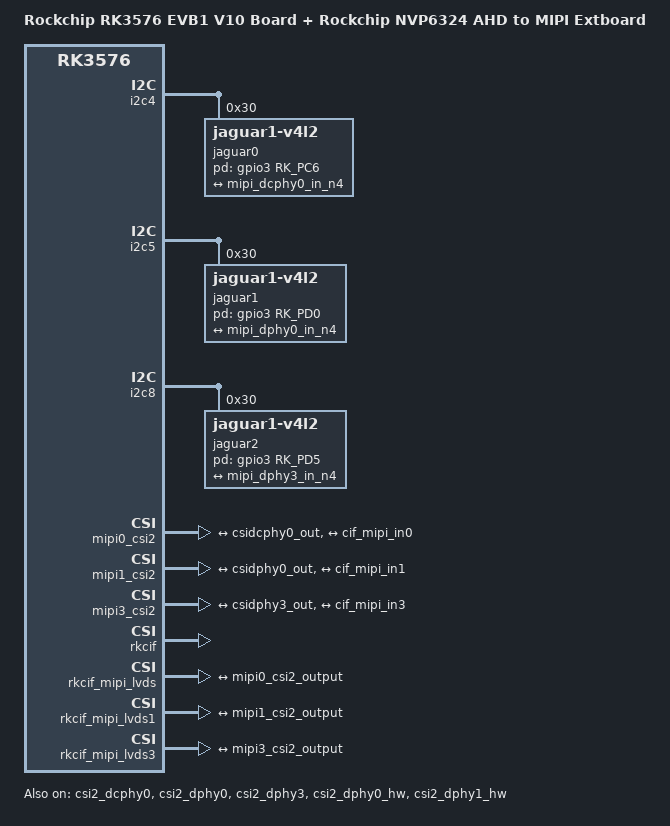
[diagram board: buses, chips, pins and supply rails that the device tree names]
// SPDX-License-Identifier: (GPL-2.0+ OR MIT)
/*
 * Copyright (c) 2024 Rockchip Electronics Co., Ltd.
 *
 */

/dts-v1/;

#include "rk3576.dtsi"
#include "rk3576-evb1.dtsi"
#include "rk3576-android.dtsi"

/ {
	model = "Rockchip RK3576 EVB1 V10 Board + Rockchip NVP6324 AHD to MIPI Extboard";
	compatible = "rockchip,rk3576-evb1-v10", "rockchip,rk3576";
};

&csi2_dcphy0 {
	status = "okay";

	ports {
		#address-cells = <1>;
		#size-cells = <0>;
		port@0 {
			reg = <0>;
			#address-cells = <1>;
			#size-cells = <0>;

			mipi_dcphy0_in_n4: endpoint@1 {
				reg = <1>;
				remote-endpoint = <&n4_out0>;
				data-lanes = <1 2 3 4>;
			};
		};
		port@1 {
			reg = <1>;
			#address-cells = <1>;
			#size-cells = <0>;

			csidcphy0_out: endpoint@0 {
				reg = <0>;
				remote-endpoint = <&mipi0_csi2_input>;
			};
		};
	};
};

&csi2_dphy0 {
	status = "okay";

	ports {
		#address-cells = <1>;
		#size-cells = <0>;
		port@0 {
			reg = <0>;
			#address-cells = <1>;
			#size-cells = <0>;

			mipi_dphy0_in_n4: endpoint@1 {
				reg = <1>;
				remote-endpoint = <&n4_out1>;
				data-lanes = <1 2 3 4>;
			};
		};
		port@1 {
			reg = <1>;
			#address-cells = <1>;
			#size-cells = <0>;

			csidphy0_out: endpoint@0 {
				reg = <0>;
				remote-endpoint = <&mipi1_csi2_input>;
			};
		};
	};
};

&csi2_dphy3 {
	status = "okay";

	ports {
		#address-cells = <1>;
		#size-cells = <0>;
		port@0 {
			reg = <0>;
			#address-cells = <1>;
			#size-cells = <0>;

			mipi_dphy3_in_n4: endpoint@1 {
				reg = <1>;
				remote-endpoint = <&n4_out2>;
				data-lanes = <1 2 3 4>;
			};
		};
		port@1 {
			reg = <1>;
			#address-cells = <1>;
			#size-cells = <0>;

			csidphy3_out: endpoint@0 {
				reg = <0>;
				remote-endpoint = <&mipi3_csi2_input>;
			};
		};
	};
};

&csi2_dphy0_hw {
	status = "okay";
};

&csi2_dphy1_hw {
	status = "okay";
};

&i2c4 {
	status = "okay";
	pinctrl-0 = <&i2c4m3_xfer>;

	jaguar0: jaguar0@30 {
		compatible = "jaguar1-v4l2";
		status = "okay";
		reg = <0x30>;
		clocks = <&cru CLK_MIPI_CAMERAOUT_M0>;
		clock-names = "xvclk";
		pinctrl-names = "default";
		pinctrl-0 = <&cam_clk0m0_clk0>;
		power-domains = <&power RK3576_PD_VI>;
		pd-gpios = <&gpio3 RK_PC6 GPIO_ACTIVE_HIGH>; //rk3576 evb1 NC as default
		//avdd-supply = <&vcc_mipicsi0>;
		rockchip,camera-module-index = <0>;
		rockchip,camera-module-facing = "back";
		rockchip,camera-module-name = "default";
		rockchip,camera-module-lens-name = "default";
		rockchip,default_rect= <1920 1080>; // default resolution
		port {
			n4_out0: endpoint {
				remote-endpoint = <&mipi_dcphy0_in_n4>;
				data-lanes = <1 2 3 4>;
			};
		};
	};
};

&i2c5 {
	status = "okay";
	pinctrl-names = "default";
	pinctrl-0 = <&i2c5m3_xfer>;

	jaguar1: jaguar1@30 {
		compatible = "jaguar1-v4l2";
		status = "okay";
		reg = <0x30>;
		clocks = <&cru CLK_MIPI_CAMERAOUT_M1>;
		clock-names = "xvclk";
		power-domains = <&power RK3576_PD_VI>;
		pinctrl-names = "default";
		pinctrl-0 = <&cam_clk1m0_clk1>;
		pd-gpios = <&gpio3 RK_PD0 GPIO_ACTIVE_HIGH>;
		//avdd-supply = <&vcc_mipicsi0>;
		rockchip,camera-module-index = <0>;
		rockchip,camera-module-facing = "back";
		rockchip,camera-module-name = "default";
		rockchip,camera-module-lens-name = "default";
		rockchip,default_rect= <1920 1080>; // default resolution
		port {
			n4_out1: endpoint {
				remote-endpoint = <&mipi_dphy0_in_n4>;
				data-lanes = <1 2 3 4>;
			};
		};
	};
};

&i2c8 {
	status = "okay";
	pinctrl-names = "default";
	pinctrl-0 = <&i2c8m2_xfer>;

	jaguar2: jaguar2@30 {
		compatible = "jaguar1-v4l2";
		status = "okay";
		reg = <0x30>;
		clocks = <&cru CLK_MIPI_CAMERAOUT_M2>;
		clock-names = "xvclk";
		power-domains = <&power RK3576_PD_VI>;
		pinctrl-names = "default";
		pinctrl-0 = <&cam_clk2m0_clk2>;
		pd-gpios = <&gpio3 RK_PD5 GPIO_ACTIVE_HIGH>;
		//avdd-supply = <&vcc_mipicsi1>;
		rockchip,camera-module-index = <0>;
		rockchip,camera-module-facing = "back";
		rockchip,camera-module-name = "default";
		rockchip,camera-module-lens-name = "default";
		rockchip,default_rect= <1920 1080>; // default resolution

		port {
			n4_out2: endpoint {
				remote-endpoint = <&mipi_dphy3_in_n4>;
				data-lanes = <1 2 3 4>;
			};
		};
	};
};

&mipi0_csi2 {
	status = "okay";

	ports {
		#address-cells = <1>;
		#size-cells = <0>;

		port@0 {
			reg = <0>;
			#address-cells = <1>;
			#size-cells = <0>;

			mipi0_csi2_input: endpoint@1 {
				reg = <1>;
				remote-endpoint = <&csidcphy0_out>;
			};
		};

		port@1 {
			reg = <1>;
			#address-cells = <1>;
			#size-cells = <0>;

			mipi0_csi2_output: endpoint@0 {
				reg = <0>;
				remote-endpoint = <&cif_mipi_in0>;
			};
		};
	};
};

&mipi1_csi2 {
	status = "okay";

	ports {
		#address-cells = <1>;
		#size-cells = <0>;

		port@0 {
			reg = <0>;
			#address-cells = <1>;
			#size-cells = <0>;

			mipi1_csi2_input: endpoint@1 {
				reg = <1>;
				remote-endpoint = <&csidphy0_out>;
			};
		};

		port@1 {
			reg = <1>;
			#address-cells = <1>;
			#size-cells = <0>;

			mipi1_csi2_output: endpoint@0 {
				reg = <0>;
				remote-endpoint = <&cif_mipi_in1>;
			};
		};
	};
};

&mipi3_csi2 {
	status = "okay";

	ports {
		#address-cells = <1>;
		#size-cells = <0>;

		port@0 {
			reg = <0>;
			#address-cells = <1>;
			#size-cells = <0>;

			mipi3_csi2_input: endpoint@1 {
				reg = <1>;
				remote-endpoint = <&csidphy3_out>;
			};
		};

		port@1 {
			reg = <1>;
			#address-cells = <1>;
			#size-cells = <0>;

			mipi3_csi2_output: endpoint@0 {
				reg = <0>;
				remote-endpoint = <&cif_mipi_in3>;
			};
		};
	};
};

&rkcif {
	status = "okay";
	rockchip,android-usb-camerahal-enable;
};

&rkcif_mipi_lvds {
	status = "okay";

	port {
		cif_mipi_in0: endpoint {
			remote-endpoint = <&mipi0_csi2_output>;
		};
	};
};

&rkcif_mipi_lvds1 {
	status = "okay";

	port {
		cif_mipi_in1: endpoint {
			remote-endpoint = <&mipi1_csi2_output>;
		};
	};
};

&rkcif_mipi_lvds3 {
	status = "okay";

	port {
		cif_mipi_in3: endpoint {
			remote-endpoint = <&mipi3_csi2_output>;
		};
	};
};

&rkcif_mmu {
	status = "okay";
};


&vcc_mipidcphy0 {
	regulator-boot-on;
	regulator-always-on;
};

&vcc_mipicsi0 {
	regulator-boot-on;
	regulator-always-on;
};

&vcc_mipicsi1 {
	regulator-boot-on;
	regulator-always-on;
};
